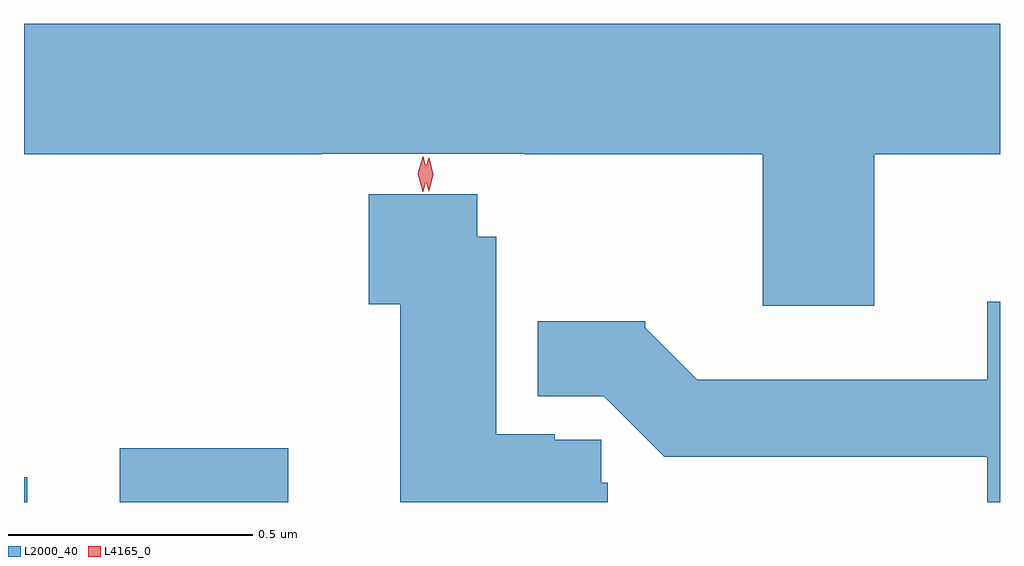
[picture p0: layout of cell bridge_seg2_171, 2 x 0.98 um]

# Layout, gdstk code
import gdstk
lib = gdstk.Library(unit=1e-6, precision=1e-09)
def R(c, l, rs):  # rectangles x0, y0, x1, y1
    for r in rs: c.add(gdstk.rectangle(r[:2], r[2:], *l))
def P(c, l, *ps):  # polygons
    for p in ps: c.add(gdstk.Polygon(p, *l))
L2000_40 = (2000, 40)
L4165_0 = (4165, 0)

bridge_seg2_171 = lib.new_cell('bridge_seg2_171')
R(bridge_seg2_171, L2000_40, [(815.997,1074.243,816.004,1074.294), (816.193,1074.243,816.539,1074.354)])
P(bridge_seg2_171, L2000_40, [(817.739,1074.956),(817.997,1074.956),(817.997,1075.224),(815.997,1075.224),(815.997,1074.956),(816.607,1074.956),(816.607,1074.957),(817.022,1074.957),(817.022,1074.956),(817.511,1074.956),(817.511,1074.646),(817.739,1074.646)],
  [(817.193,1074.283),(817.18,1074.283),(817.18,1074.371),(817.085,1074.371),(817.085,1074.383),(816.965,1074.383),(816.965,1074.787),(816.926,1074.787),(816.926,1074.874),(816.703,1074.874),(816.703,1074.649),(816.768,1074.649),(816.768,1074.243),(817.193,1074.243)],
  [(817.997,1074.654),(817.971,1074.654),(817.971,1074.494),(817.377,1074.494),(817.27,1074.601),(817.27,1074.614),(817.05,1074.614),(817.05,1074.46),(817.185,1074.46),(817.309,1074.336),(817.971,1074.336),(817.971,1074.243),(817.997,1074.243)])
P(bridge_seg2_171, L4165_0, [(816.814,1074.879),(816.814,1074.88),(816.804,1074.916),(816.814,1074.951),(816.814,1074.952),(816.815,1074.951),(816.824,1074.916),(816.815,1074.88)],
  [(816.826,1074.881),(816.826,1074.882),(816.816,1074.915),(816.826,1074.949),(816.826,1074.949),(816.827,1074.949),(816.836,1074.915),(816.827,1074.882)])

lib.write_gds('bridge_seg2_171.gds')
